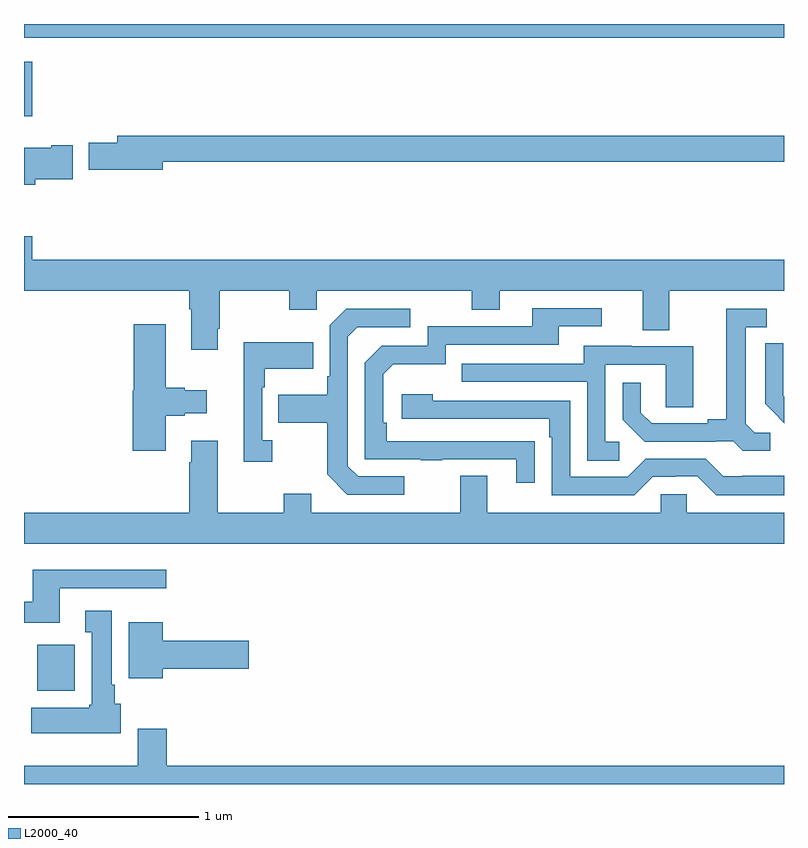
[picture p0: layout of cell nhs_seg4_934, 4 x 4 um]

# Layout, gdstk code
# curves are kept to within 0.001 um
import gdstk
lib = gdstk.Library(unit=1e-6, precision=1e-09)
def R(c, l, rs):  # rectangles x0, y0, x1, y1
    for r in rs: c.add(gdstk.rectangle(r[:2], r[2:], *l))
def P(c, l, *ps):  # polygons
    for p in ps: c.add(gdstk.Polygon(p, *l))
L2000_40 = (2000, 40)

nhs_seg4_934 = lib.new_cell('nhs_seg4_934')
R(nhs_seg4_934, L2000_40, [(159.071,785.39,159.268,785.632), (159,788.414,159.044,788.701), (159,788.828,163,788.9)])
P(nhs_seg4_934, L2000_40, [(159.73,788.176),(163,788.176),(163,788.312),(159.491,788.312),(159.491,788.276),(159.342,788.276),(159.342,788.134),(159.73,788.134)],
  [(159.059,788.083),(159.256,788.083),(159.256,788.261),(159.143,788.261),(159.143,788.248),(159,788.248),(159,788.054),(159.059,788.054)],
  [(160.021,787.297),(160.029,787.297),(160.029,787.496),(160.396,787.496),(160.396,787.397),(160.542,787.397),(160.542,787.496),(161.356,787.496),(161.356,787.397),(161.503,787.397),(161.503,787.496),(162.257,787.496),(162.257,787.288),(162.397,787.288),(162.397,787.496),(163,787.496),(163,787.66),(159.044,787.66),(159.044,787.784),(159,787.784),(159,787.496),(159.869,787.496),(159.869,787.4),(159.881,787.4),(159.881,787.185),(160.021,787.185)],
  [(161.687,786.704),(160.91,786.705),(160.91,786.802),(160.89,786.802),(160.89,787.056),(160.943,787.109),(161.22,787.109),(161.22,787.212),(161.815,787.212),(161.815,787.308),(162.04,787.308),(162.04,787.404),(161.675,787.404),(161.675,787.308),(161.124,787.308),(161.124,787.206),(160.884,787.206),(160.794,787.116),(160.794,786.609),(161.089,786.609),(161.089,786.604),(161.201,786.604),(161.201,786.609),(161.591,786.609),(161.591,786.486),(161.687,786.486)],
  [(162.928,786.75),(162.846,786.75),(162.799,786.797),(162.799,787.305),(162.91,787.305),(162.91,787.401),(162.695,787.401),(162.695,786.821),(162.599,786.821),(162.599,786.798),(162.304,786.798),(162.247,786.855),(162.247,787.012),(162.15,787.012),(162.15,786.818),(162.266,786.702),(162.638,786.702),(162.638,786.705),(162.732,786.705),(162.784,786.653),(162.928,786.653)],
  [(161.002,786.519),(160.758,786.519),(160.704,786.573),(160.704,787.254),(160.755,787.305),(161.032,787.305),(161.032,787.401),(160.695,787.401),(160.608,787.314),(160.608,787.045),(160.596,787.045),(160.596,786.949),(160.339,786.949),(160.339,786.802),(160.596,786.802),(160.596,786.529),(160.701,786.423),(161.002,786.423)],
  [(159.745,786.839),(159.845,786.839),(159.845,786.851),(159.961,786.851),(159.961,786.973),(159.845,786.973),(159.845,786.986),(159.745,786.986),(159.745,787.321),(159.578,787.321),(159.578,786.969),(159.572,786.969),(159.572,786.654),(159.745,786.654)],
  [(160.306,786.71),(160.254,786.71),(160.254,786.989),(160.267,786.989),(160.267,787.085),(160.523,787.085),(160.523,787.225),(160.157,787.225),(160.157,786.597),(160.306,786.597)],
  [(163,786.939),(162.995,786.944),(162.995,787.066),(162.996,787.066),(162.996,787.22),(162.9,787.22),(162.9,786.902),(162.973,786.829),(162.972,786.828),(163,786.8)],
  [(162.133,786.702),(162.06,786.702),(162.06,787.107),(162.378,787.107),(162.378,786.883),(162.523,786.883),(162.523,787.203),(162.199,787.203),(162.199,787.207),(161.945,787.207),(161.945,787.113),(161.305,787.113),(161.305,787.017),(161.964,787.017),(161.964,786.601),(162.133,786.601)],
  [(163,786.523),(162.781,786.523),(162.781,786.519),(162.681,786.519),(162.588,786.612),(162.273,786.612),(162.177,786.516),(161.874,786.516),(161.874,786.918),(161.15,786.918),(161.15,786.952),(160.989,786.952),(160.989,786.822),(161.765,786.822),(161.765,786.725),(161.778,786.725),(161.778,786.42),(162.213,786.42),(162.309,786.516),(162.428,786.516),(162.428,786.519),(162.543,786.519),(162.643,786.419),(163,786.419)],
  [(163,786.328),(162.489,786.328),(162.489,786.426),(162.351,786.426),(162.351,786.328),(161.437,786.328),(161.437,786.523),(161.297,786.523),(161.297,786.328),(160.513,786.328),(160.513,786.427),(160.366,786.427),(160.366,786.328),(160.021,786.328),(160.021,786.706),(159.881,786.706),(159.881,786.593),(159.869,786.593),(159.869,786.328),(159,786.328),(159,786.164),(163,786.164)],
  [(159.187,785.931),(159.748,785.931),(159.748,786.028),(159.047,786.028),(159.047,785.86),(159,785.86),(159,785.75),(159.187,785.75)],
  [(159.508,785.322),(159.478,785.322),(159.478,785.422),(159.463,785.422),(159.463,785.812),(159.323,785.812),(159.323,785.699),(159.356,785.699),(159.356,785.316),(159.343,785.316),(159.343,785.302),(159.039,785.302),(159.039,785.168),(159.508,785.168)],
  [(159.73,785.507),(160.183,785.507),(160.183,785.654),(159.73,785.654),(159.73,785.752),(159.551,785.752),(159.551,785.456),(159.73,785.456)],
  [(163,784.996),(159.752,784.996),(159.752,785.191),(159.599,785.191),(159.599,784.996),(159,784.996),(159,784.9),(163,784.9)])

lib.write_gds('nhs_seg4_934.gds')
